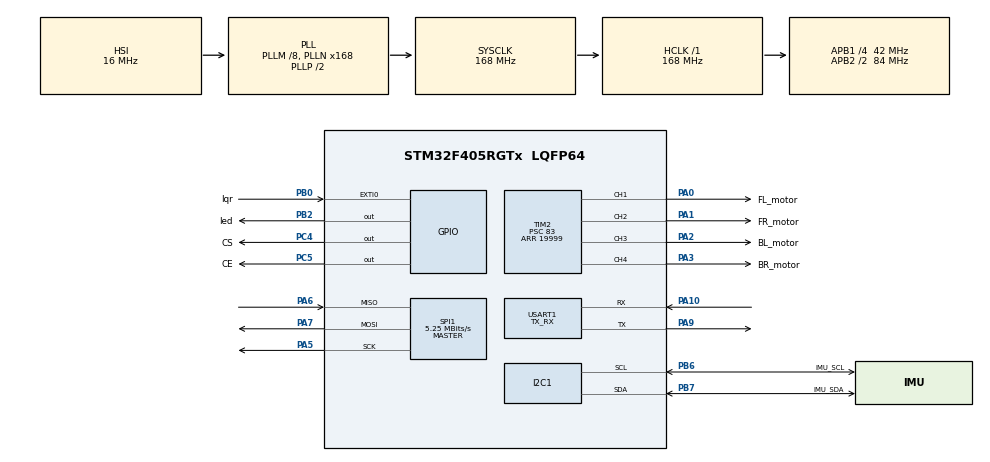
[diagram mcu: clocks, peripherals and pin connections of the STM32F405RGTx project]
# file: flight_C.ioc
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Dma.Request0=USART1_TX
Dma.USART1_TX.0.Direction=DMA_MEMORY_TO_PERIPH
Dma.USART1_TX.0.FIFOMode=DMA_FIFOMODE_DISABLE
Dma.USART1_TX.0.Instance=DMA2_Stream7
Dma.USART1_TX.0.MemDataAlignment=DMA_MDATAALIGN_BYTE
Dma.USART1_TX.0.MemInc=DMA_MINC_ENABLE
Dma.USART1_TX.0.Mode=DMA_NORMAL
Dma.USART1_TX.0.PeriphDataAlignment=DMA_PDATAALIGN_BYTE
Dma.USART1_TX.0.PeriphInc=DMA_PINC_DISABLE
Dma.USART1_TX.0.Priority=DMA_PRIORITY_LOW
Mcu.Family=STM32F4
Mcu.Name=STM32F405RGTx
Mcu.Package=LQFP64
NVIC.DMA2_Stream7_IRQn=true\:0\:0\:false\:false\:true\:false\:true\:true
NVIC.PriorityGroup=NVIC_PRIORITYGROUP_4
PA0-WKUP.GPIO_Label=FL_motor
PA0-WKUP.Signal=S_TIM2_CH1_ETR
PA1.GPIO_Label=FR_motor
PA1.Signal=S_TIM2_CH2
PA10.Mode=Asynchronous
PA10.Signal=USART1_RX
PA2.GPIO_Label=BL_motor
PA2.Signal=S_TIM2_CH3
PA3.GPIO_Label=BR_motor
PA3.Signal=S_TIM2_CH4
PA5.Mode=Full_Duplex_Master
PA5.Signal=SPI1_SCK
PA6.Mode=Full_Duplex_Master
PA6.Signal=SPI1_MISO
PA7.Mode=Full_Duplex_Master
PA7.Signal=SPI1_MOSI
PA9.Mode=Asynchronous
PA9.Signal=USART1_TX
PB0.GPIO_Label=Iqr
PB0.Signal=GPXTI0
PB2.GPIO_Label=led
PB2.Signal=GPIO_Output
PB6.GPIO_Label=IMU_SCL
PB6.Mode=I2C
PB6.Signal=I2C1_SCL
PB7.GPIO_Label=IMU_SDA
PB7.Mode=I2C
PB7.Signal=I2C1_SDA
PC4.GPIO_Label=CS
PC4.GPIO_Speed=GPIO_SPEED_FREQ_HIGH
PC4.PinState=GPIO_PIN_SET
PC4.Signal=GPIO_Output
PC5.GPIO_Label=CE
PC5.GPIO_Speed=GPIO_SPEED_FREQ_HIGH
PC5.PinState=GPIO_PIN_RESET
PC5.Signal=GPIO_Output
ProjectManager.HeapSize=0x200
ProjectManager.StackSize=0x400
ProjectManager.TargetToolchain=STM32CubeIDE
RCC.48MHZClocksFreq_Value=84000000
RCC.AHBFreq_Value=168000000
RCC.APB1CLKDivider=RCC_HCLK_DIV4
RCC.APB1Freq_Value=42000000
RCC.APB1TimFreq_Value=84000000
RCC.APB2CLKDivider=RCC_HCLK_DIV2
RCC.APB2Freq_Value=84000000
RCC.APB2TimFreq_Value=168000000
RCC.CortexFreq_Value=168000000
RCC.HCLKFreq_Value=168000000
RCC.HSE_VALUE=25000000
RCC.HSI_VALUE=16000000
RCC.LSE_VALUE=32768
RCC.PLLM=8
RCC.PLLN=168
RCC.SYSCLKFreq_VALUE=168000000
RCC.SYSCLKSource=RCC_SYSCLKSOURCE_PLLCLK
RCC.VCOOutputFreq_Value=336000000
SH.S_TIM2_CH1_ETR.0=TIM2_CH1,PWM Generation1 CH1
SH.S_TIM2_CH2.0=TIM2_CH2,PWM Generation2 CH2
SH.S_TIM2_CH3.0=TIM2_CH3,PWM Generation3 CH3
SH.S_TIM2_CH4.0=TIM2_CH4,PWM Generation4 CH4
SPI1.BaudRatePrescaler=SPI_BAUDRATEPRESCALER_16
SPI1.CalculateBaudRate=5.25 MBits/s
SPI1.Direction=SPI_DIRECTION_2LINES
SPI1.Mode=SPI_MODE_MASTER
SPI1.VirtualType=VM_MASTER
TIM2.Channel-PWM\ Generation1\ CH1=TIM_CHANNEL_1
TIM2.Channel-PWM\ Generation2\ CH2=TIM_CHANNEL_2
TIM2.Channel-PWM\ Generation3\ CH3=TIM_CHANNEL_3
TIM2.Channel-PWM\ Generation4\ CH4=TIM_CHANNEL_4
TIM2.Period=19999
TIM2.Prescaler=83
TIM2.Pulse-PWM\ Generation1\ CH1=1000
TIM2.Pulse-PWM\ Generation2\ CH2=1000
TIM2.Pulse-PWM\ Generation3\ CH3=1000
TIM2.Pulse-PWM\ Generation4\ CH4=1000
TIM5.Prescaler=83
USART1.Mode=MODE_TX_RX
USART1.VirtualMode=VM_ASYNC
VP_TIM5_VS_ClockSourceINT.Mode=Internal
board=custom

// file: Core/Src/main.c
/* USER CODE BEGIN Header */
/**
  ******************************************************************************
  * @file           : main.c
  * @brief          : Main program body
  ******************************************************************************
  */
/* USER CODE END Header */
#include "main.h"
#include "i2c.h"
#include "spi.h"
#include "usart.h"
#include "gpio.h"

/* USER CODE BEGIN Includes */
#include "IMU.h"
#include "receiver.h"
#include "tim.h"
#include "dma.h"
#include "rc_manager.h"
#include "PID_Controller.h"
#include "telemetry.h"
#include "motor_control.h"
#include "tim.h"
#include "nrf24l01p.h"
#include <stdio.h>
#include <stdlib.h>
#include <math.h>
/* USER CODE END Includes */

/* USER CODE BEGIN PV */
static inline void MX_IWDG_Init(void) { /* no-op */ }
static inline void Watchdog_Refresh(void) { /* no-op */ }

// dt helper — call this once per loop iteration
static inline float get_dt_seconds(void)
{
    static uint32_t last_tick = 0;
    uint32_t now  = __HAL_TIM_GET_COUNTER(&htim5);
    uint32_t diff = (now >= last_tick)
                  ? (now - last_tick)
                  : (0xFFFFFFFFU - last_tick + now + 1U); // overflow wrap
    last_tick = now;
    return (float)diff * 1e-6f; // µs → seconds
}
/* USER CODE END PV */

void SystemClock_Config(void);

int main(void)
{
    HAL_Init();
    SystemClock_Config();

    MX_GPIO_Init();
    MX_DMA_Init();           // ← must be before UART
    MX_TIM2_Init();
    MX_TIM5_Init();
    MX_USART1_UART_Init();
    MX_I2C1_Init();
    MX_SPI1_Init();
    MX_IWDG_Init();
    Motor_PWM_Init();

    //Receiver_Init();
    Telemetry_Init();
    IMU_Init();

    // WHO_AM_I check
    uint8_t who = 0;
    HAL_I2C_Mem_Read(&hi2c1, (0x68 << 1), 0x75, 1, &who, 1, 100);
    char dbg[32];
    int dlen = snprintf(dbg, sizeof(dbg), "MPU WHO_AM_I: 0x%02X\r\n", who);
    //HAL_UART_Transmit(&huart1, (uint8_t*)dbg, dlen, 100);

    IMU_Calibrate(500);

    // Motor arming sequence - hold idle until stick gesture detected
    //Motor_Arm();

    // Main loop: compute dt once and pass into IMU and control loop
    HAL_TIM_Base_Start(&htim5);  // free-running, no IRQ
    get_dt_seconds();
    //HAL_UART_Transmit(&huart1, (uint8_t*)"entering while loop\r\n", 20, 100);

    while (1)
    {

        // RX RC packets from remote
        //Receiver_Process();

        // Switch to RX and receive telemetry briefly
        //nrf24l01p_switch_to_rx();
        //Telemetry_ReceiveCheck();

        // Switch back to TX for next telemetry send
        //nrf24l01p_switch_to_tx();

        float dt = get_dt_seconds();

        IMUData imu = IMU_GetAngles(dt);

        dataPacket controller;
        controller.pitch = 0.0;
        controller.roll  = 0.0;
        controller.yaw   = 0.0;
        controller.throttle = 550.0;
        controller.kill = 0;

        flight_control_loop(imu, controller, dt);

        /*if (!RC_IsKillActive())
        {
            flight_control_loop(imu, controller, dt);
        }
        else
        {
            // Kill switch active — zero all motors
            __HAL_TIM_SET_COMPARE(&htim2, TIM_CHANNEL_1, 1000);
            __HAL_TIM_SET_COMPARE(&htim2, TIM_CHANNEL_2, 1000);
            __HAL_TIM_SET_COMPARE(&htim2, TIM_CHANNEL_3, 1000);
            __HAL_TIM_SET_COMPARE(&htim2, TIM_CHANNEL_4, 1000);
        }*/
    }
}

void SystemClock_Config(void)
{
  RCC_OscInitTypeDef RCC_OscInitStruct = {0};
  RCC_ClkInitTypeDef RCC_ClkInitStruct = {0};

  /** Configure the main internal regulator output voltage
  */
  __HAL_RCC_PWR_CLK_ENABLE();
  __HAL_PWR_VOLTAGESCALING_CONFIG(PWR_REGULATOR_VOLTAGE_SCALE1);

  /** Initializes the RCC Oscillators according to the specified parameters
  * in the RCC_OscInitTypeDef structure.
  */
  RCC_OscInitStruct.OscillatorType = RCC_OSCILLATORTYPE_HSI;
  RCC_OscInitStruct.HSIState = RCC_HSI_ON;
  RCC_OscInitStruct.HSICalibrationValue = RCC_HSICALIBRATION_DEFAULT;
  RCC_OscInitStruct.PLL.PLLState = RCC_PLL_ON;
  RCC_OscInitStruct.PLL.PLLSource = RCC_PLLSOURCE_HSI;
  RCC_OscInitStruct.PLL.PLLM = 8;
  RCC_OscInitStruct.PLL.PLLN = 168;
  RCC_OscInitStruct.PLL.PLLP = RCC_PLLP_DIV2;
  RCC_OscInitStruct.PLL.PLLQ = 4;
  if (HAL_RCC_OscConfig(&RCC_OscInitStruct) != HAL_OK)
  {
    Error_Handler();
  }

  /** Initializes the CPU, AHB and APB buses clocks
  */
  RCC_ClkInitStruct.ClockType = RCC_CLOCKTYPE_HCLK|RCC_CLOCKTYPE_SYSCLK
                              |RCC_CLOCKTYPE_PCLK1|RCC_CLOCKTYPE_PCLK2;
  RCC_ClkInitStruct.SYSCLKSource = RCC_SYSCLKSOURCE_PLLCLK;
  RCC_ClkInitStruct.AHBCLKDivider = RCC_SYSCLK_DIV1;
  RCC_ClkInitStruct.APB1CLKDivider = RCC_HCLK_DIV4;
  RCC_ClkInitStruct.APB2CLKDivider = RCC_HCLK_DIV2;

  if (HAL_RCC_ClockConfig(&RCC_ClkInitStruct, FLASH_LATENCY_5) != HAL_OK)
  {
    Error_Handler();
  }
}

/* USER CODE BEGIN 4 */
/* USER CODE BEGIN 4 */
void HAL_UART_TxCpltCallback(UART_HandleTypeDef *huart)
{
    if (huart->Instance == USART1)
        Telemetry_TxCpltCallback();
}

void HAL_GPIO_EXTI_Callback(uint16_t GPIO_Pin)
{
    if (Receiver_IsIrqPin(GPIO_Pin))
    {
        Receiver_OnIrq();
        HAL_GPIO_TogglePin(led_GPIO_Port, led_Pin);
    }
}
/* USER CODE END 4 */
/* USER CODE END 4 */

void Error_Handler(void)
{
  __disable_irq();
  while (1)
  {
  }
}
